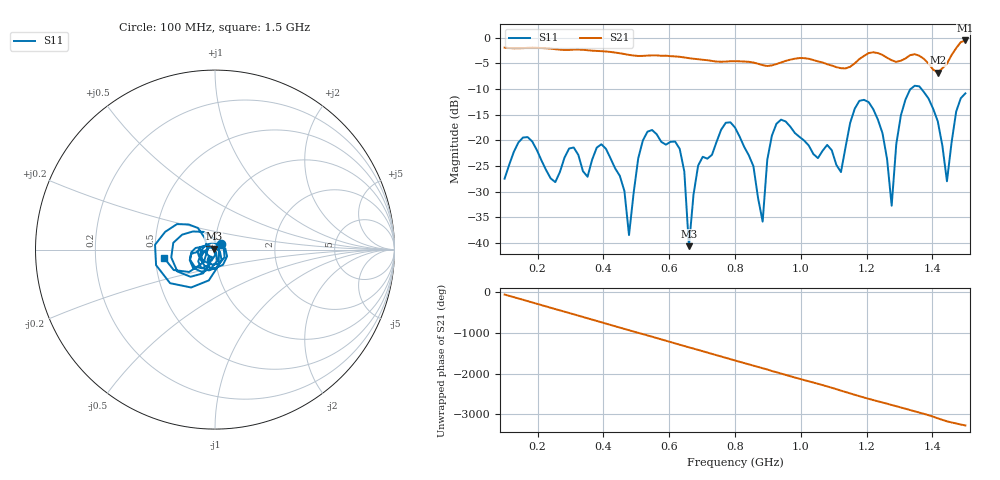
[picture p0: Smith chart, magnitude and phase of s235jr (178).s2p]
! NanoVNA-App
! Date: 2025-09-25 15:05:33
! Start: 100MHz Stop: 1,5GHz Points: 101
! S-Parameter data: F S11 S21 S12 S22
# Hz S RI R 50
!  Frequency  S11_Real  S11_Imag  S21_Real  S21_Imag  S12_Real  S12_Imag  S22_Real  S22_Imag
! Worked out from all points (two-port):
!   101 points, 100 MHz to 1.5 GHz, reference 50 ohm
!   highest |S21| = -0.56 dB at 1.5 GHz (marker M1); lowest = -6.8 dB at 1.416 GHz (marker M2)
!   |S21| within 3 dB of the highest: start of sweep to 502.7 MHz; 521.5 MHz to 595.1 MHz (73.59 MHz wide, 13.2 % of centre)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
!   lowest |S11| = -40.6 dB at 660 MHz (marker M3), VSWR 1.02, Z = 49.3 + j0.563 ohm
!   |S11| at or under -10 dB: start of sweep to 1.334 GHz; 1.366 GHz to end of sweep
!   S12 and S22 are empty: the file has one direction only
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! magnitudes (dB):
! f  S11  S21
! 100 MHz  -27.5  -2.0
! 156 MHz  -19.5  -2.1
! 338 MHz  -26.0  -2.4
! 408 MHz  -21.7  -2.7
! 478 MHz  -38.5  -3.4
! 520 MHz  -20.0  -3.6
! 576 MHz  -20.3  -3.5
! 632 MHz  -21.7  -3.7
! 660 MHz  -40.6  -4.0
! 688 MHz  -24.9  -4.2
! 800 MHz  -17.5  -4.6
! 884 MHz  -35.8  -5.4
! 926 MHz  -16.8  -5.2
! 1.038 GHz  -22.7  -4.4
! 1.122 GHz  -26.2  -6.0
! 1.206 GHz  -12.6  -3.0
! 1.276 GHz  -32.7  -4.4
! 1.29 GHz  -20.8  -4.7
! 1.332 GHz  -10.1  -3.4
! 1.416 GHz  -16.3  -6.8
! 1.444 GHz  -28.0  -5.1
! 1.5 GHz  -10.9  -0.6
